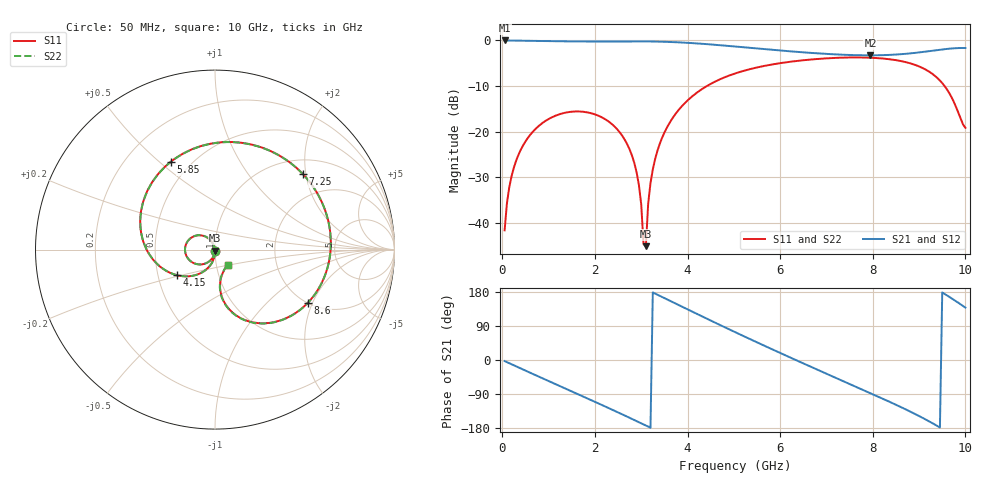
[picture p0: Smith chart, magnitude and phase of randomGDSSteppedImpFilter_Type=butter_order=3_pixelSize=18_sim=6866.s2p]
! freq	dB(S11)	phase(S11)	dB(S12)	phase(S12)
!  dB(S21)	phase(S21)	dB(S22)	phase(S22)
!S-par simulation data
#  GHz  S  DB  R 50
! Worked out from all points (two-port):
!   200 points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, 50 MHz to 10 GHz, reference 50 ohm
!   highest |S21| = -0.01 dB at 50 MHz (marker M1); lowest = -3.3 dB at 7.95 GHz (marker M2)
!   |S21| within 3 dB of the highest: start of sweep to 7.101 GHz; 8.62 GHz to end of sweep
!   lowest |S11| = -45.0 dB at 3.1 GHz (marker M3), VSWR 1.01, Z = 49.9 - j0.541 ohm
!   |S11| at or under -10 dB: start of sweep to 4.415 GHz; 9.551 GHz to end of sweep
!   |S22| runs from -45.5 to -3.7 dB; largest |S21 - S12| = 0
!   S11 on the Smith chart (normalised r, x): 50 MHz: 1.00, -0.02; 4.15 GHz: 0.63, -0.19; 5.85 GHz: 0.39, +0.55; 7.25 GHz: 1.33, +1.92; 8.6 GHz: 2.00, -1.84; 10 GHz: 1.14, -0.19
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0.05  -41.57 -91.1  -0.01 -2.9  -0.01 -2.9  -41.57 -91.1
0.2  -29.72 -101.0  -0.02 -11.3  -0.02 -11.3  -29.72 -101.1
0.5  -22.12 -118.4  -0.07 -28.0  -0.07 -28.0  -22.12 -118.4
1.15  -16.47 -154.4  -0.17 -63.8  -0.17 -63.8  -16.47 -154.5
1.75  -15.62 172.8  -0.23 -96.6  -0.23 -96.6  -15.62 172.5
2.75  -23.88 118.1  -0.20 -152.6  -0.20 -152.6  -23.89 117.0
2.95  -31.65 109.1  -0.20 -164.1  -0.20 -164.1  -31.67 106.5
3.05  -44.63 123.1  -0.21 -170.0  -0.21 -170.0  -45.13 112.0
3.1  -45.04 -104.1  -0.21 -172.9  -0.21 -172.9  -45.49 -92.7
3.15  -35.76 -93.4  -0.22 -175.8  -0.22 -175.8  -35.81 -89.7
3.2  -31.24 -93.6  -0.23 -178.8  -0.23 -178.8  -31.26 -91.5
3.4  -22.64 -102.9  -0.27 169.4  -0.27 169.4  -22.64 -102.2
4.15  -11.83 -146.2  -0.62 124.8  -0.62 124.8  -11.84 -146.2
5.05  -7.16 161.7  -1.36 72.2  -1.36 72.2  -7.16 161.4
5.85  -5.22 116.7  -2.08 27.0  -2.08 27.0  -5.22 116.3
6.7  -4.15 70.1  -2.75 -19.9  -2.75 -19.9  -4.15 69.7
7.25  -3.80 40.7  -3.08 -49.8  -3.08 -49.8  -3.80 40.3
7.95  -3.79 4.0  -3.26 -87.6  -3.26 -87.6  -3.79 3.6
8.35  -4.10 -16.8  -3.17 -109.6  -3.17 -109.6  -4.10 -17.2
8.6  -4.50 -29.9  -3.02 -123.8  -3.02 -123.8  -4.50 -30.3
9.45  -8.78 -74.5  -2.04 -178.2  -2.04 -178.2  -8.79 -74.8
10  -19.13 -49.4  -1.66 138.4  -1.66 138.4  -19.20 -49.7
